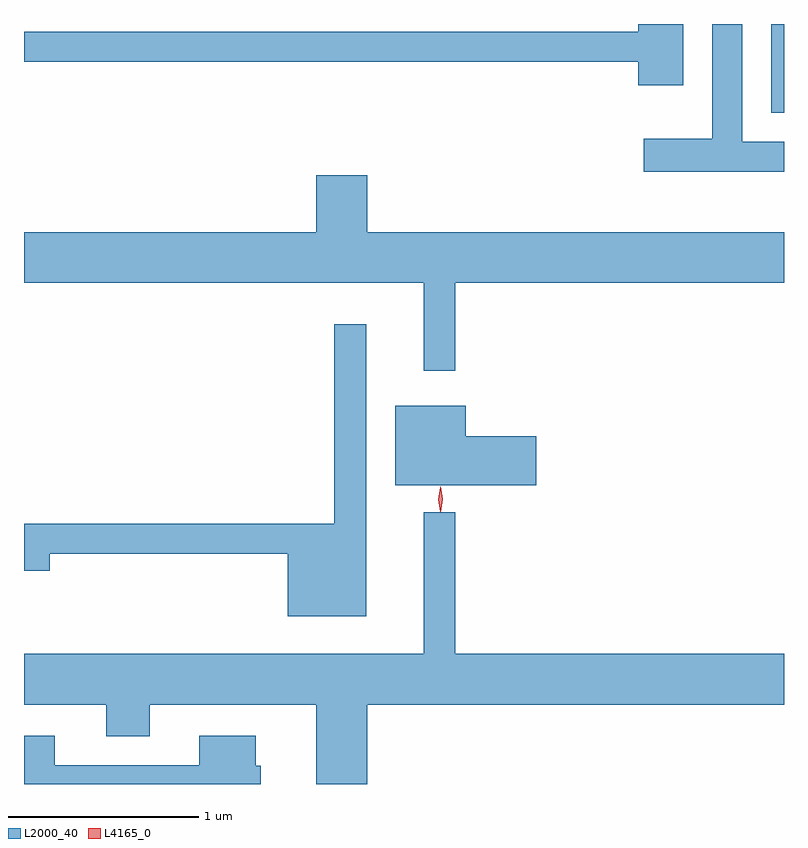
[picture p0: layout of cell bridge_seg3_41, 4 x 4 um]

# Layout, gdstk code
import gdstk
lib = gdstk.Library(unit=1e-6, precision=1e-09)
def R(c, l, rs):  # rectangles x0, y0, x1, y1
    for r in rs: c.add(gdstk.rectangle(r[:2], r[2:], *l))
def P(c, l, *ps):  # polygons
    for p in ps: c.add(gdstk.Polygon(p, *l))
L2000_40 = (2000, 40)
L4165_0 = (4165, 0)

bridge_seg3_41 = lib.new_cell('bridge_seg3_41')
R(bridge_seg3_41, L2000_40, [(1176.511,1211.271,1176.578,1211.739)])
P(bridge_seg3_41, L2000_40, [(1176.049,1211.739),(1175.811,1211.739),(1175.811,1211.699),(1172.578,1211.699),(1172.578,1211.541),(1175.811,1211.541),(1175.811,1211.416),(1176.049,1211.416)],
  [(1176.578,1211.119),(1176.359,1211.119),(1176.359,1211.739),(1176.201,1211.739),(1176.201,1211.134),(1175.841,1211.134),(1175.841,1210.961),(1176.578,1210.961)],
  [(1174.849,1210.376),(1176.578,1210.376),(1176.578,1210.644),(1174.384,1210.644),(1174.384,1210.944),(1174.116,1210.944),(1174.116,1210.644),(1172.578,1210.644),(1172.578,1210.376),(1174.681,1210.376),(1174.681,1209.913),(1174.849,1209.913)],
  [(1174.379,1210.158),(1174.211,1210.158),(1174.211,1209.109),(1172.578,1209.109),(1172.578,1208.861),(1172.714,1208.861),(1172.714,1208.951),(1173.966,1208.951),(1173.966,1208.621),(1174.379,1208.621)],
  [(1175.274,1209.569),(1174.904,1209.569),(1174.904,1209.729),(1174.531,1209.729),(1174.531,1209.311),(1175.274,1209.311)],
  [(1174.384,1208.156),(1176.578,1208.156),(1176.578,1208.424),(1174.849,1208.424),(1174.849,1209.168),(1174.681,1209.168),(1174.681,1208.424),(1172.578,1208.424),(1172.578,1208.156),(1173.011,1208.156),(1173.011,1207.991),(1173.239,1207.991),(1173.239,1208.156),(1174.116,1208.156),(1174.116,1207.739),(1174.384,1207.739)],
  [(1173.824,1207.834),(1173.799,1207.834),(1173.799,1207.994),(1173.501,1207.994),(1173.501,1207.839),(1172.739,1207.839),(1172.739,1207.994),(1172.578,1207.994),(1172.578,1207.739),(1173.824,1207.739)])
P(bridge_seg3_41, L4165_0, [(1174.772,1209.17),(1174.772,1209.17),(1174.762,1209.238),(1174.772,1209.305),(1174.772,1209.306),(1174.772,1209.305),(1174.782,1209.238),(1174.772,1209.17)],
  [(1174.768,1209.173),(1174.768,1209.174),(1174.758,1209.236),(1174.768,1209.3),(1174.768,1209.3),(1174.769,1209.3),(1174.778,1209.236),(1174.769,1209.174)])

lib.write_gds('bridge_seg3_41.gds')
